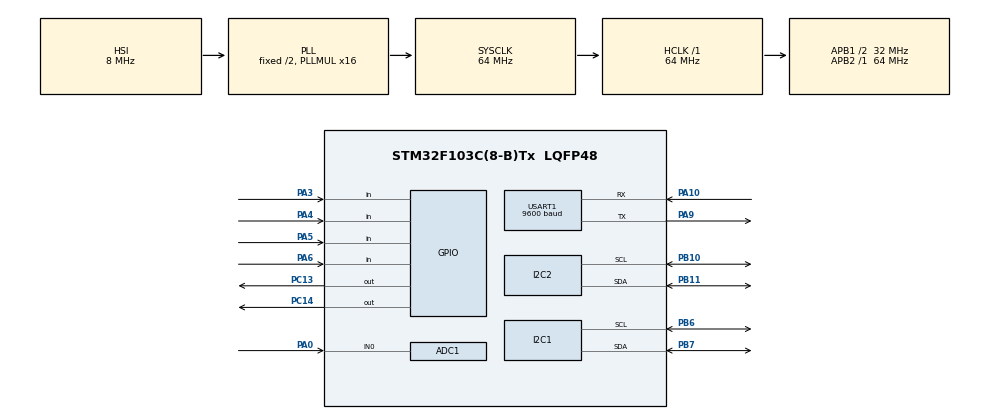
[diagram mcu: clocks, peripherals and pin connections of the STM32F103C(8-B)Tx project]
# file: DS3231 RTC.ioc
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ADC1.Channel-0\#ChannelRegularConversion=ADC_CHANNEL_0
ADC1.NbrOfConversionFlag=1
ADC1.Rank-0\#ChannelRegularConversion=1
ADC1.SamplingTime-0\#ChannelRegularConversion=ADC_SAMPLETIME_239CYCLES_5
ADC1.master=1
I2C1.I2C_Mode=I2C_Standard
Mcu.Family=STM32F1
Mcu.Name=STM32F103C(8-B)Tx
Mcu.Package=LQFP48
NVIC.PriorityGroup=NVIC_PRIORITYGROUP_4
NVIC.USART1_IRQn=true\:1\:0\:true\:false\:true\:true\:true\:true
PA0-WKUP.Signal=ADCx_IN0
PA10.Mode=Asynchronous
PA10.Signal=USART1_RX
PA13.Mode=Serial_Wire
PA13.Signal=SYS_JTMS-SWDIO
PA14.Mode=Serial_Wire
PA14.Signal=SYS_JTCK-SWCLK
PA3.GPIO_PuPd=GPIO_PULLUP
PA3.Signal=GPIO_Input
PA4.GPIO_PuPd=GPIO_PULLUP
PA4.Signal=GPIO_Input
PA5.GPIO_PuPd=GPIO_PULLUP
PA5.Signal=GPIO_Input
PA6.GPIO_PuPd=GPIO_PULLUP
PA6.Signal=GPIO_Input
PA9.Mode=Asynchronous
PA9.Signal=USART1_TX
PB10.Mode=I2C
PB10.Signal=I2C2_SCL
PB11.Mode=I2C
PB11.Signal=I2C2_SDA
PB6.Mode=I2C
PB6.Signal=I2C1_SCL
PB7.Mode=I2C
PB7.Signal=I2C1_SDA
PC13-TAMPER-RTC.GPIO_PuPd=GPIO_PULLUP
PC13-TAMPER-RTC.Signal=GPIO_Output
PC14-OSC32_IN.GPIO_PuPd=GPIO_PULLUP
PC14-OSC32_IN.Signal=GPIO_Output
ProjectManager.HeapSize=0x200
ProjectManager.StackSize=0x400
ProjectManager.TargetToolchain=MDK-ARM V5.32
RCC.ADCPresc=RCC_ADCPCLK2_DIV6
RCC.AHBFreq_Value=64000000
RCC.APB1CLKDivider=RCC_HCLK_DIV2
RCC.APB1Freq_Value=32000000
RCC.APB1TimFreq_Value=64000000
RCC.APB2Freq_Value=64000000
RCC.APB2TimFreq_Value=64000000
RCC.HCLKFreq_Value=64000000
RCC.PLLMUL=RCC_PLL_MUL16
RCC.SYSCLKFreq_VALUE=64000000
RCC.SYSCLKSource=RCC_SYSCLKSOURCE_PLLCLK
RCC.USBFreq_Value=64000000
SH.ADCx_IN0.0=ADC1_IN0,IN0
USART1.BaudRate=9600
USART1.VirtualMode=VM_ASYNC
board=custom

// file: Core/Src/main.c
/* USER CODE BEGIN Header */
/**
  ******************************************************************************
  * @file           : main.c
  * @brief          : Main program body
  ******************************************************************************
  * @attention
  *
  * <h2><center>&copy; Copyright (c) 2021 STMicroelectronics.
  * All rights reserved.</center></h2>
  *
  * This software component is licensed by ST under BSD 3-Clause license,
  * the "License"; You may not use this file except in compliance with the
  * License. You may obtain a copy of the License at:
  *                        opensource.org/licenses/BSD-3-Clause
  *
  ******************************************************************************
  */
/* USER CODE END Header */
#include "main.h"

/* USER CODE BEGIN Includes */
#include "RTC.h"
#include "LiquidCrystal_I2C.h"
#include "Button.h"
#include "set_alarm.h"
/* USER CODE END Includes */

ADC_HandleTypeDef hadc1;

I2C_HandleTypeDef hi2c1;
I2C_HandleTypeDef hi2c2;

UART_HandleTypeDef huart1;

void SystemClock_Config(void);
static void MX_GPIO_Init(void);
static void MX_I2C1_Init(void);
static void MX_USART1_UART_Init(void);
static void MX_I2C2_Init(void);
static void MX_ADC1_Init(void);
/* USER CODE BEGIN PFP */
RTC_Typedef hrtc1;
RTC_Typedef hrtc2;
LiquidCrystal_I2C hlcd;
Button_Typdef button1;   // A6
Button_Typdef button2;   // A5
Button_Typdef button3;   // A4
Button_Typdef button4;   // A3
uint8_t check = 0;
uint8_t checkhand;
int8_t hour2 = 0;
int8_t min2 = 0;
int8_t second2 = 0;
uint8_t increHour; uint8_t decreHour;
uint8_t increMin;	 uint8_t decreMin;
uint8_t increSec;  uint8_t decreSec;
uint8_t pin = 0;
char checkMinHour = 0; // cho ra ngoai tum lum de debug :v
uint32_t value;
uint8_t data_Uart;
int8_t onHour; int8_t offHour;
int8_t onMin; int8_t offMin;
int8_t onSec; int8_t offSec;
char setOFFHour = 0;  char setOFFMin = 0; char setOFFSec = 0;
char manual = 0;
/* USER CODE END PFP */

/* USER CODE BEGIN 0 */
//void But2()
//{
////		HAL_GPIO_WritePin(GPIOC,GPIO_PIN_13,1);
//		lcd_clear_display(&hlcd);
//		lcd_set_cursor(&hlcd, 0,0);
//		lcd_printf(&hlcd, "Mode 2:Hand");
////		button_handle(&button2);
//		{
//			HAL_GPIO_TogglePin(GPIOC,GPIO_PIN_13);
//		}
//}
void btn_pressing_callback(Button_Typdef *ButtonX)
{
	if(check == 6)
	{
		check = 0;
	}
	if(ButtonX == &button1)
	{
		check++;
	}
//
//	if(ButtonX == &button2)
//	{
//		HAL_GPIO_TogglePin(GPIOC,GPIO_PIN_13);
//	}

}
void lcd_DateMonthYear()
{
//	lcd_clear_display(&hlcd);
//		lcd_set_cursor(&hlcd, 0,0);
//		lcd_printf(&hlcd, "M1:");
//		lcd_set_cursor(&hlcd, 0,4);
//		lcd_printf(&hlcd, "%02d:%02d:%02d",hrtc1.date_time.hour,
//								hrtc1.date_time.min, hrtc1.date_time.second);
		lcd_set_cursor(&hlcd, 1,6);
		lcd_printf(&hlcd, "%02d/%02d/%02d",hrtc1.date_time.date,
						hrtc1.date_time.month,hrtc1.date_time.year);
////		lcd_set_cursor(&hlcd,1,2);
////		lcd_printf(&hlcd, "%s,",(Convert2Day)hrtc1.date_time.day);
		switch(hrtc1.date_time.day)
			{
			case 1:
				lcd_set_cursor(&hlcd,1,2);
			lcd_printf(&hlcd, "Mon,");
			break;
			case 2:
				lcd_set_cursor(&hlcd,1,2);
			lcd_printf(&hlcd, "Tue,");
			break;
			case 3:
				lcd_set_cursor(&hlcd,1,2);
			lcd_printf(&hlcd, "Wed,");
			break;
			case 4:
				lcd_set_cursor(&hlcd,1,1);
			lcd_printf(&hlcd, "Thur,");
			break;
			case 5:
				lcd_set_cursor(&hlcd,1,2);
			lcd_printf(&hlcd, "Fri,");
			break;
			case 6:
				lcd_set_cursor(&hlcd,1,2);
			lcd_printf(&hlcd, "Sat,");
			break;
			case 7:
				lcd_set_cursor(&hlcd,1,2);
			lcd_printf(&hlcd, "Sun,");
			break;
			default:
				break;
			}
}

void set_alarm1()
{
	//Set Gio ON
	// ------------------------------------------------------------------------------------------------------------------
	while(checkMinHour == 1)
	{
	button_handle(&button1);
			if(check == 3)
			{
				HAL_Delay(100);
				break;
			}
	lcd_set_cursor(&hlcd, 1,10);
	lcd_printf(&hlcd, "Hr");
	increHour = HAL_GPIO_ReadPin(GPIOA,GPIO_PIN_4);
	button_delay(&button3, increHour);
	if(increHour == 0)
	{
		if(hour2 >= 23)
		{
			hour2 = -1;
		}
		hour2++;
		HAL_Delay(200);
		lcd_set_cursor(&hlcd, 0,4);
		lcd_printf(&hlcd, "%02d:00:00",hour2);
	}
			// nut giam
	decreHour = HAL_GPIO_ReadPin(GPIOA,GPIO_PIN_5);
	button_delay(&button2, increHour);
	if(decreHour == 0)
	{
		if(hour2 <= 0)
		{
			hour2 = 24;
		}
		hour2--;
		HAL_Delay(200);
		lcd_set_cursor(&hlcd, 0,4);
		lcd_printf(&hlcd, "%02d:00:00",hour2);
	}
	//
	uint8_t checkkk = HAL_GPIO_ReadPin(GPIOA,GPIO_PIN_3);     // cung ten voi checkkk o duoi nhung 2 then la khac nhau mac du cung chuc nang :)))
	button_delay(&button4, checkkk);
		if(checkkk == 0)
		{
			checkMinHour = 2;
			HAL_Delay(350);
			break;
		}
	}
	//Set Phut ON
	// ------------------------------------------------------------------------------------------------------------------
	while(checkMinHour == 2)
	{
	button_handle(&button1);
			if(check == 3)
			{
				HAL_Delay(100);
				break;
			}
	lcd_set_cursor(&hlcd, 1,10);
	lcd_printf(&hlcd, "Min");
	increMin = HAL_GPIO_ReadPin(GPIOA,GPIO_PIN_4);
	button_delay(&button3, increMin);
		if(increMin == 0)
		{
			if(min2 >= 59)
			{
				min2 = -1;
			}
		min2++;
		HAL_Delay(200);
		lcd_set_cursor(&hlcd, 0,4);
		lcd_printf(&hlcd, "%02d:%02d:00",hour2,
								min2);
		}
		// nut giam
		decreMin = HAL_GPIO_ReadPin(GPIOA,GPIO_PIN_5);
	button_delay(&button2, increHour);
	if(decreMin == 0)
	{
		if(min2 <= 0)
		{
			min2 = 60;
		}
		min2--;
		HAL_Delay(200);
		lcd_set_cursor(&hlcd, 0,4);
		lcd_printf(&hlcd, "%02d:%02d:00",hour2,
								min2);
	}
		//
	uint8_t checkkk = HAL_GPIO_ReadPin(GPIOA,GPIO_PIN_3);     // cung ten voi checkkk o duoi nhung 2 then la khac nhau mac du cung chuc nang :)))
	button_delay(&button4, checkkk);
		if(checkkk == 0)
		{
			checkMinHour = 3;
			HAL_Delay(350);
			break;
		}
	}
	//Set Giay ON
	// ------------------------------------------------------------------------------------------------------------------
	while(checkMinHour == 3)
	{
	button_handle(&button1);
			if(check == 3)
			{
				HAL_Delay(100);
				break;
			}
	lcd_set_cursor(&hlcd, 1,10);
	lcd_printf(&hlcd, "Sec");
	increSec = HAL_GPIO_ReadPin(GPIOA,GPIO_PIN_4);
	button_delay(&button3, increSec);
		if(increSec == 0)
		{
			if(second2 >= 59)
			{
				second2 = -1;
			}
		second2++;
		HAL_Delay(200);
		lcd_set_cursor(&hlcd, 0,4);
		lcd_printf(&hlcd, "%02d:%02d:%02d",hour2,
								min2,second2);
		}
		// nut giam
		decreSec = HAL_GPIO_ReadPin(GPIOA,GPIO_PIN_5);
	button_delay(&button2, increHour);
	if(decreSec == 0)
	{
		if(second2 <= 0)
		{
			second2 = 60;
		}
		second2--;
		HAL_Delay(200);
		lcd_set_cursor(&hlcd, 0,4);
		lcd_printf(&hlcd, "%02d:%02d:%02d",hour2,
								min2,second2);
	}
	//
	uint8_t checkkk = HAL_GPIO_ReadPin(GPIOA,GPIO_PIN_3);     // cung ten voi checkkk o duoi nhung 2 then la khac nhau mac du cung chuc nang :)))
	button_delay(&button4, checkkk);    // button4 de chuyen trang thai chinh gio phut giay
		if(checkkk == 0)
		{
//			checkMinHour = 4;
			HAL_Delay(350);
			break;
		}
	}
		onHour = hour2;
		onMin = min2;
		onSec = second2;
		lcd_set_cursor(&hlcd, 1,10);
		lcd_printf(&hlcd, "   ");
		lcd_set_cursor(&hlcd, 0,4);
		lcd_printf(&hlcd, "%02d:%02d:%02d",onHour,
								onMin,onSec);
		lcd_set_cursor(&hlcd, 1,4);
		lcd_printf(&hlcd, "ON DONE!");
		while(1)
		{
			uint8_t checkkk = HAL_GPIO_ReadPin(GPIOA,GPIO_PIN_3);
			button_delay(&button4, checkkk);
			if(checkkk == 0)
			{
				setOFFHour = 1;
				HAL_Delay(500);
				break;
			}
			button_handle(&button1);
			if(check == 3)
			{
		    HAL_Delay(100);
				break;
			}
		}
		lcd_clear_display(&hlcd);
		//Set Gio OFF
	// ------------------------------------------------------------------------------------------------------------------
		if(setOFFHour)
		{
			button_handle(&button1);
//			if(check == 3)
//			{
//				break;
//			}
			lcd_set_cursor(&hlcd, 0,0);
			lcd_printf(&hlcd, "M2:");
			lcd_set_cursor(&hlcd, 1,0);
			lcd_printf(&hlcd, "           ");
			lcd_set_cursor(&hlcd, 1,0);
			lcd_printf(&hlcd, "SET OFF  ");
			lcd_set_cursor(&hlcd, 1,10);
			lcd_printf(&hlcd, "Hr ");
			while(1)
			{
				increHour = HAL_GPIO_ReadPin(GPIOA,GPIO_PIN_4);
				button_delay(&button3, increHour);
				if(increHour == 0)
				{
					if(hour2 >= 23)
					{
						hour2 = -1;
					}
				hour2++;
				HAL_Delay(200);
				lcd_set_cursor(&hlcd, 0,4);
				lcd_printf(&hlcd, "%02d:%02d:%02d",hour2,min2,second2);
	//			lcd_printf(&hlcd,"hihi");
				}
				// nut giam
				decreHour = HAL_GPIO_ReadPin(GPIOA,GPIO_PIN_5);
				button_delay(&button2, increHour);
				if(decreHour == 0)
				{
					if(hour2 <= 0)
					{
						hour2 = 24;
					}
					hour2--;
					HAL_Delay(200);
					lcd_set_cursor(&hlcd, 0,4);
					lcd_printf(&hlcd, "%02d:%02d:%02d",hour2,min2,second2);
				}
				//
				button_handle(&button1);
					if(check == 3)
					{
						HAL_Delay(100);
						break;
					}
			uint8_t checkkk = HAL_GPIO_ReadPin(GPIOA,GPIO_PIN_3);
			button_delay(&button4, checkkk);
			if(checkkk == 0)
				{
					setOFFHour = 0;
					setOFFMin = 1;
					HAL_Delay(500);
					break;
				}
			}
//			break;
		}
		//Set Phut OFF
	// ------------------------------------------------------------------------------------------------------------------
		if(setOFFMin)
		{
			button_handle(&button1);
			lcd_set_cursor(&hlcd, 1,0);
			lcd_printf(&hlcd, "SET OFF  ");
			lcd_set_cursor(&hlcd, 1,9);
			lcd_printf(&hlcd, " Min");
		while(1)
		{
		increMin = HAL_GPIO_ReadPin(GPIOA,GPIO_PIN_4);
		button_delay(&button3, increHour);
		if(increMin == 0)
		{
			if(min2 >= 59)
			{
				min2 = -1;
			}
			min2++;
			HAL_Delay(200);
			lcd_set_cursor(&hlcd, 0,4);
			lcd_printf(&hlcd, "%02d:%02d:%02d",hour2,min2,second2);
		}
			// nut giam
			decreMin = HAL_GPIO_ReadPin(GPIOA,GPIO_PIN_5);
		button_delay(&button2, increHour);
		if(decreMin == 0)
		{
			if(min2 <= 0)
			{
				min2 = 60;
			}
			min2--;
			HAL_Delay(200);
			lcd_set_cursor(&hlcd, 0,4);
			lcd_printf(&hlcd, "%02d:%02d:00",hour2,
									min2);
		}
			//
		button_handle(&button1);
			if(check == 3)
			{
				HAL_Delay(100);
				break;
			}
		uint8_t checkkk = HAL_GPIO_ReadPin(GPIOA,GPIO_PIN_3);
		button_delay(&button4, checkkk);
			if(checkkk == 0)
			{
				setOFFMin = 0;
				setOFFSec = 1;
				HAL_Delay(350);
				break;
			}
		}
	}
		if(setOFFSec)
		{
			button_handle(&button1);
			lcd_set_cursor(&hlcd, 1,0);
			lcd_printf(&hlcd, "SET OFF  ");
			lcd_set_cursor(&hlcd, 1,9);
			lcd_printf(&hlcd, " Sec");
		while(1)
		{
		increSec = HAL_GPIO_ReadPin(GPIOA,GPIO_PIN_4);
		button_delay(&button3, increHour);
		if(increSec == 0)
		{
			if(second2 >= 59)
			{
				second2 = -1;
			}
			second2++;
			HAL_Delay(200);
			lcd_set_cursor(&hlcd, 0,4);
			lcd_printf(&hlcd, "%02d:%02d:%02d",hour2,min2,second2);
		}
			// nut giam
			decreSec = HAL_GPIO_ReadPin(GPIOA,GPIO_PIN_5);
		button_delay(&button2, increHour);
		if(decreSec == 0)
		{
			if(second2 <= 0)
			{
				second2 = 60;
			}
			second2--;
			HAL_Delay(200);
			lcd_set_cursor(&hlcd, 0,4);
			lcd_printf(&hlcd, "%02d:%02d:%02d",hour2,
									min2,second2);
		}
		//
		button_handle(&button1);
			if(check == 3)
			{
				HAL_Delay(100);
				break;
			}
		uint8_t checkkk = HAL_GPIO_ReadPin(GPIOA,GPIO_PIN_3);
		button_delay(&button4, checkkk);
			if(checkkk == 0)
			{
				setOFFSec = 0;
				HAL_Delay(350);
				break;
			}
		}
	}
		offHour = hour2;
		offMin = min2;
		offSec = second2;
		lcd_clear_display(&hlcd);
		lcd_set_cursor(&hlcd,0,0);
		lcd_printf(&hlcd,"  Done_SetUp!");
		lcd_set_cursor(&hlcd,1,0);
		lcd_printf(&hlcd,"BTN1_To_Continue");
		while(1)
		{
			button_handle(&button1);
			if(check == 3)
			{
		    HAL_Delay(100);
				break;
			}
		}
}

void HAL_UART_RxCpltCallback(UART_HandleTypeDef *huart)
{
	//	button_handle(&button1);
	if(check == 6)
	{
		if(data_Uart == '0')   //  Y = yes
		{
			HAL_GPIO_WritePin(GPIOC,GPIO_PIN_14,0);
			lcd_set_cursor( &hlcd, 1,3);
			lcd_printf(&hlcd, "LED OFF");
		}
		else if(data_Uart == '1')   // N = no
		{
			HAL_GPIO_WritePin(GPIOC,GPIO_PIN_14,1);
			lcd_set_cursor(&hlcd, 1,3);
			lcd_printf(&hlcd, "LED ON ");
		}

	HAL_UART_Receive_IT(&huart1,&data_Uart,1);    // gap Receive_IT thi quay lai Callback
	}
//	}
}
void lcd_handle()
{
	if(check == 1)
	{
		HAL_GPIO_WritePin(GPIOC,GPIO_PIN_14,0);
		lcd_clear_display(&hlcd);
		lcd_set_cursor(&hlcd, 0,0);
		lcd_printf(&hlcd, "M1:");
		lcd_set_cursor(&hlcd, 0,4);
		lcd_printf(&hlcd, "%02d:%02d:%02d",hrtc1.date_time.hour,
								hrtc1.date_time.min, hrtc1.date_time.second);
		lcd_DateMonthYear();
	}
	else if(check == 2)
	{
		lcd_clear_display(&hlcd);
		lcd_set_cursor(&hlcd, 0,0);
		lcd_printf(&hlcd, "Btn4(Continue)");
		lcd_set_cursor(&hlcd, 1,0);
		lcd_printf(&hlcd, "Btn3(+) Btn2(-)");
		while(1)
		{
			uint8_t checkkk = HAL_GPIO_ReadPin(GPIOA,GPIO_PIN_3);
			button_delay(&button4, checkkk);
			if(checkkk == 0)
			{
				lcd_clear_display(&hlcd);
				HAL_Delay(350);
				break;
			}
		}
		lcd_printf(&hlcd, "M2:");
		lcd_set_cursor(&hlcd, 1,0);
		lcd_printf(&hlcd, "SET ON");
		checkMinHour = 1;
		set_alarm1();
		lcd_clear_display(&hlcd);
		while(1)
		{
		RTC_ReadTime(&hrtc1,&hrtc1.date_time);
		lcd_set_cursor(&hlcd, 0,4);
		lcd_printf(&hlcd, "%02d:%02d:%02d",hrtc1.date_time.hour,
								hrtc1.date_time.min, hrtc1.date_time.second);
		lcd_set_cursor(&hlcd, 1,3);
		lcd_printf(&hlcd, "REAL__TIME");
			if(onHour == hrtc1.date_time.hour &&  onMin == hrtc1.date_time.min && onSec == hrtc1.date_time.second)
			{
				HAL_GPIO_WritePin(GPIOC,GPIO_PIN_14,1);
				uint32_t b = HAL_GetTick();
				while(HAL_GetTick() - b < 1000)
				{
					if(offHour == hrtc1.date_time.hour &&  offMin == hrtc1.date_time.min && offSec == hrtc1.date_time.second)
					{
					HAL_GPIO_WritePin(GPIOC,GPIO_PIN_14,0);
					}
					button_handle(&button1);
					if(check == 4)
						{break;}
				}
			}
			if(offHour == hrtc1.date_time.hour &&  offMin == hrtc1.date_time.min && offSec == hrtc1.date_time.second)
			{
				HAL_GPIO_WritePin(GPIOC,GPIO_PIN_14,0);
				uint32_t b = HAL_GetTick();
				while(HAL_GetTick() - b < 1000)
				{
					button_handle(&button1);
					if(check == 4)
						{break;}
				}
			}
			button_handle(&button1);
			if(check == 4)
			{

				break;
//			}
			}
		}
	}
	else if(check == 4)
	{
//		   lcd_clear_display(&hlcd);
		if(manual == 0)
		{
		lcd_clear_display(&hlcd);
		lcd_set_cursor(&hlcd, 0,0);
		lcd_printf(&hlcd, "Mode 3:Manual");
		}
		manual = 1;
		if(pin == 0)
		{
			HAL_GPIO_WritePin(GPIOC,GPIO_PIN_14,0);
		}
		if(pin % 2 == 1)
			{
				lcd_set_cursor(&hlcd, 1,3);
				lcd_printf(&hlcd, "LED ON ");
			}
		else if(pin % 2 == 0)
			{
				lcd_set_cursor(&hlcd, 1,3);
				lcd_printf(&hlcd, "LED OFF");
			}
		checkhand =  HAL_GPIO_ReadPin(GPIOA,GPIO_PIN_5);
		button_delay(&button2,checkhand);
		if(checkhand == 0)
		{
			HAL_GPIO_TogglePin(GPIOC,GPIO_PIN_14);
			pin++;
			if(pin % 2 == 1)
				{
					lcd_set_cursor( &hlcd, 1,3);
					lcd_printf(&hlcd, "LED ON ");
				}
			else if(pin % 2 == 0)
				{
					lcd_set_cursor(&hlcd, 1,3);
					lcd_printf(&hlcd, "LED OFF");
				}
			uint32_t a = HAL_GetTick();
			while(HAL_GetTick() - a < 500)
			{
				button_handle(&button1);
				if(check == 5)
				{ break; }
			}

		}
	}
	else if(check == 5)
	{
		pin = 0;
		lcd_clear_display(&hlcd);
		lcd_set_cursor(&hlcd, 0,0);
		lcd_printf(&hlcd, "Mode 4: ADC");
		uint32_t time = HAL_GetTick();
		HAL_ADCEx_Calibration_Start(&hadc1);  // tu dong can chinh ADC, neu su dung ham phai duoc goi truoc khi Start ADC
		HAL_ADC_Start(&hadc1);
		HAL_ADC_PollForConversion(&hadc1,100);  // Wait for ADC conversion completion, cho ADC doc xong, 100ms chua doc dc thi out chu ko thi no dung mai trong do
		value = HAL_ADC_GetValue(&hadc1);
		if(value > 3800U)    // U la unsigned int
		{
//			uint32_t time11 = HAL_GetTick();
//			if((HAL_GetTick() - time11) < 1000)
//			{
//			}
			HAL_GPIO_WritePin(GPIOC,GPIO_PIN_14,1);
			lcd_set_cursor( &hlcd, 1,3);
			lcd_printf(&hlcd, "LED ON ");
		}
		else
		{
			HAL_GPIO_WritePin(GPIOC,GPIO_PIN_14,0);
			lcd_set_cursor( &hlcd, 1,3);
			lcd_printf(&hlcd, "LED OFF");
		}
		HAL_ADC_Stop(&hadc1);    // stop de su dung lai ham Calibration duoc
		while(HAL_GetTick() - time < 5000)
		{
			button_handle(&button1);
			if(check == 6)
			{
				break;
			}
		}
		button_handle(&button1);

	}
	else if(check == 6)
	{
		lcd_clear_display(&hlcd);
		lcd_set_cursor(&hlcd, 0,0);
		lcd_printf(&hlcd, "Mode 5:Bluetooth");
//		HAL_UART_Receive_IT(&huart1,&data_Uart,1);
		while(check == 6)
		{
			button_handle(&button1);
			if(check != 6)
			{
				break;
			}
			HAL_UART_RxCpltCallback(&huart1);
		}
//		HAL_UART_RxCpltCallback(&huart1);

	}
}

void btn_release_callback(Button_Typdef *ButtonX)
{
}

/* USER CODE END 0 */

int main(void)
{

  /* MCU Configuration--------------------------------------------------------*/

  /* Reset of all peripherals, Initializes the Flash interface and the Systick. */
  HAL_Init();

  /* Configure the system clock */
  SystemClock_Config();

  /* USER CODE BEGIN SysInit */
	button_init(&button1,GPIOA,GPIO_PIN_6);
	button_init(&button2,GPIOA,GPIO_PIN_5);
  /* USER CODE END SysInit */

  /* Initialize all configured peripherals */
  MX_GPIO_Init();
  MX_I2C1_Init();
  MX_USART1_UART_Init();
  MX_I2C2_Init();
  MX_ADC1_Init();
  /* USER CODE BEGIN 2 */

	lcd_init(&hlcd, &hi2c1, LCD_ADDR_DEFAULT);
	RTC_Init(&hrtc1,&hi2c1);
//	HAL_UART_Receive_IT(&huart1,&data_Uart,1);    // cua Uart
//	hrtc1.date_time.hour = 14;
//	hrtc1.date_time.min = 25;
//	hrtc1.date_time.second = 10;
//		hrtc1.date_time.day = 6;
//	hrtc1.date_time.date = 17;
//	hrtc1.date_time.month = 12;
//	hrtc1.date_time.year = 22;
//	RTC_WriteTime(&hrtc1,&hrtc1.date_time);

  /* USER CODE END 2 */

  /* Infinite loop */
  while (1)
  {

    /* USER CODE BEGIN 3 */
		uint32_t wait = HAL_GetTick();
		while(HAL_GetTick() - wait < 20)
		{}
		button_handle(&button1);
//		button_handle(&button2);
    RTC_ReadTime(&hrtc1,&hrtc1.date_time);
		lcd_handle();
//	lcd_set_cursor(&hlcd, 0,0);
//	lcd_printf(&hlcd, "M1:");
//	lcd_set_cursor(&hlcd, 0,4);
//	lcd_printf(&hlcd, "%02d:%02d:%02d",hrtc1.date_time.hour,
//								hrtc1.date_time.min, hrtc1.date_time.second);
//	lcd_set_cursor(&hlcd, 1,4);
//	lcd_printf(&hlcd, "%02d/%02d/%02d",hrtc1.date_time.date,
//	hrtc1.date_time.month,hrtc1.date_time.year);
  }
  /* USER CODE END 3 */
}

void SystemClock_Config(void)
{
  RCC_OscInitTypeDef RCC_OscInitStruct = {0};
  RCC_ClkInitTypeDef RCC_ClkInitStruct = {0};
  RCC_PeriphCLKInitTypeDef PeriphClkInit = {0};

  /** Initializes the RCC Oscillators according to the specified parameters
  * in the RCC_OscInitTypeDef structure.
  */
  RCC_OscInitStruct.OscillatorType = RCC_OSCILLATORTYPE_HSI;
  RCC_OscInitStruct.HSIState = RCC_HSI_ON;
  RCC_OscInitStruct.HSICalibrationValue = RCC_HSICALIBRATION_DEFAULT;
  RCC_OscInitStruct.PLL.PLLState = RCC_PLL_ON;
  RCC_OscInitStruct.PLL.PLLSource = RCC_PLLSOURCE_HSI_DIV2;
  RCC_OscInitStruct.PLL.PLLMUL = RCC_PLL_MUL16;
  if (HAL_RCC_OscConfig(&RCC_OscInitStruct) != HAL_OK)
  {
    Error_Handler();
  }

  /** Initializes the CPU, AHB and APB buses clocks
  */
  RCC_ClkInitStruct.ClockType = RCC_CLOCKTYPE_HCLK|RCC_CLOCKTYPE_SYSCLK
                              |RCC_CLOCKTYPE_PCLK1|RCC_CLOCKTYPE_PCLK2;
  RCC_ClkInitStruct.SYSCLKSource = RCC_SYSCLKSOURCE_PLLCLK;
  RCC_ClkInitStruct.AHBCLKDivider = RCC_SYSCLK_DIV1;
  RCC_ClkInitStruct.APB1CLKDivider = RCC_HCLK_DIV2;
  RCC_ClkInitStruct.APB2CLKDivider = RCC_HCLK_DIV1;

  if (HAL_RCC_ClockConfig(&RCC_ClkInitStruct, FLASH_LATENCY_2) != HAL_OK)
  {
    Error_Handler();
  }
  PeriphClkInit.PeriphClockSelection = RCC_PERIPHCLK_ADC;
  PeriphClkInit.AdcClockSelection = RCC_ADCPCLK2_DIV6;
  if (HAL_RCCEx_PeriphCLKConfig(&PeriphClkInit) != HAL_OK)
  {
    Error_Handler();
  }
}

static void MX_ADC1_Init(void)
{

  ADC_ChannelConfTypeDef sConfig = {0};

  /** Common config
  */
  hadc1.Instance = ADC1;
  hadc1.Init.ScanConvMode = ADC_SCAN_DISABLE;
  hadc1.Init.ContinuousConvMode = DISABLE;
  hadc1.Init.DiscontinuousConvMode = DISABLE;
  hadc1.Init.ExternalTrigConv = ADC_SOFTWARE_START;
  hadc1.Init.DataAlign = ADC_DATAALIGN_RIGHT;
  hadc1.Init.NbrOfConversion = 1;
  if (HAL_ADC_Init(&hadc1) != HAL_OK)
  {
    Error_Handler();
  }

  /** Configure Regular Channel
  */
  sConfig.Channel = ADC_CHANNEL_0;
  sConfig.Rank = ADC_REGULAR_RANK_1;
  sConfig.SamplingTime = ADC_SAMPLETIME_239CYCLES_5;
  if (HAL_ADC_ConfigChannel(&hadc1, &sConfig) != HAL_OK)
  {
    Error_Handler();
  }

}

static void MX_I2C1_Init(void)
{

  hi2c1.Instance = I2C1;
  hi2c1.Init.ClockSpeed = 100000;
  hi2c1.Init.DutyCycle = I2C_DUTYCYCLE_2;
  hi2c1.Init.OwnAddress1 = 0;
  hi2c1.Init.AddressingMode = I2C_ADDRESSINGMODE_7BIT;
  hi2c1.Init.DualAddressMode = I2C_DUALADDRESS_DISABLE;
  hi2c1.Init.OwnAddress2 = 0;
  hi2c1.Init.GeneralCallMode = I2C_GENERALCALL_DISABLE;
  hi2c1.Init.NoStretchMode = I2C_NOSTRETCH_DISABLE;
  if (HAL_I2C_Init(&hi2c1) != HAL_OK)
  {
    Error_Handler();
  }

}

static void MX_I2C2_Init(void)
{

  hi2c2.Instance = I2C2;
  hi2c2.Init.ClockSpeed = 100000;
  hi2c2.Init.DutyCycle = I2C_DUTYCYCLE_2;
  hi2c2.Init.OwnAddress1 = 0;
  hi2c2.Init.AddressingMode = I2C_ADDRESSINGMODE_7BIT;
  hi2c2.Init.DualAddressMode = I2C_DUALADDRESS_DISABLE;
  hi2c2.Init.OwnAddress2 = 0;
  hi2c2.Init.GeneralCallMode = I2C_GENERALCALL_DISABLE;
  hi2c2.Init.NoStretchMode = I2C_NOSTRETCH_DISABLE;
  if (HAL_I2C_Init(&hi2c2) != HAL_OK)
  {
    Error_Handler();
  }

}

static void MX_USART1_UART_Init(void)
{

  huart1.Instance = USART1;
  huart1.Init.BaudRate = 9600;
  huart1.Init.WordLength = UART_WORDLENGTH_8B;
  huart1.Init.StopBits = UART_STOPBITS_1;
  huart1.Init.Parity = UART_PARITY_NONE;
  huart1.Init.Mode = UART_MODE_TX_RX;
  huart1.Init.HwFlowCtl = UART_HWCONTROL_NONE;
  huart1.Init.OverSampling = UART_OVERSAMPLING_16;
  if (HAL_UART_Init(&huart1) != HAL_OK)
  {
    Error_Handler();
  }

}

static void MX_GPIO_Init(void)
{
  GPIO_InitTypeDef GPIO_InitStruct = {0};

  /* GPIO Ports Clock Enable */
  __HAL_RCC_GPIOC_CLK_ENABLE();
  __HAL_RCC_GPIOA_CLK_ENABLE();
  __HAL_RCC_GPIOB_CLK_ENABLE();

  /*Configure GPIO pin Output Level */
  HAL_GPIO_WritePin(GPIOC, GPIO_PIN_13|GPIO_PIN_14, GPIO_PIN_RESET);

  /*Configure GPIO pins : PC13 PC14 */
  GPIO_InitStruct.Pin = GPIO_PIN_13|GPIO_PIN_14;
  GPIO_InitStruct.Mode = GPIO_MODE_OUTPUT_PP;
  GPIO_InitStruct.Pull = GPIO_PULLUP;
  GPIO_InitStruct.Speed = GPIO_SPEED_FREQ_LOW;
  HAL_GPIO_Init(GPIOC, &GPIO_InitStruct);

  /*Configure GPIO pins : PA3 PA4 PA5 PA6 */
  GPIO_InitStruct.Pin = GPIO_PIN_3|GPIO_PIN_4|GPIO_PIN_5|GPIO_PIN_6;
  GPIO_InitStruct.Mode = GPIO_MODE_INPUT;
  GPIO_InitStruct.Pull = GPIO_PULLUP;
  HAL_GPIO_Init(GPIOA, &GPIO_InitStruct);

}

void Error_Handler(void)
{
  __disable_irq();
  while (1)
  {
  }
}
